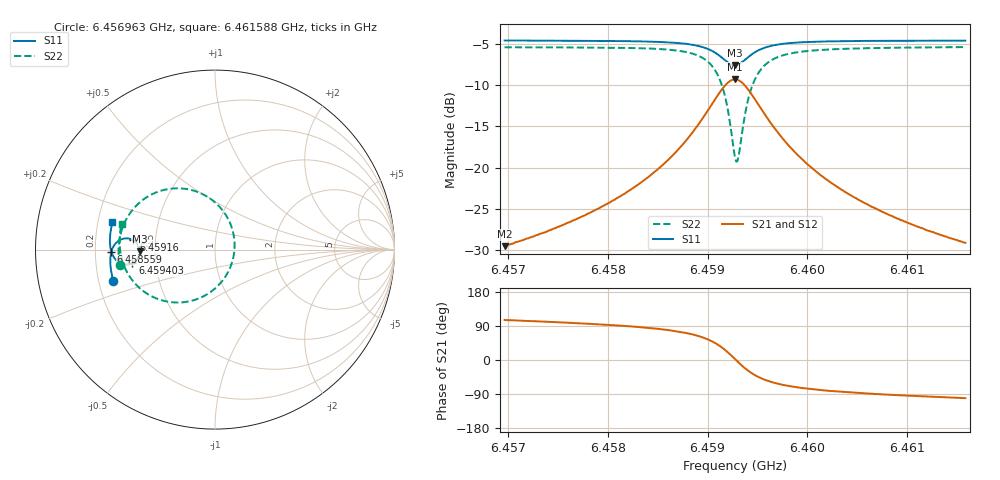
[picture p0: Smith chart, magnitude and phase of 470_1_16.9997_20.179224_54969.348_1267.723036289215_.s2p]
#  HZ  S  RI  R  50.00
! Rohde & Schwarz Vector Network Analyzer
! Rohde-Schwarz,ZNB20-2Port,1311601062101988,3.16
! Created: UTC 3/20/2024, 11:13:07 PM
! freq[Hz]  re:S11  im:S11  re:S21  im:S21  re:S12  im:S12  re:S22  im:S22
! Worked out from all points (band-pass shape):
!   401 points, 6.456963 GHz to 6.461588 GHz, reference 50 ohm
!   highest |S21| = -9.28 dB at 6.459276 GHz (marker M1); lowest = -29.5 dB at 6.456963 GHz (marker M2)
!   |S21| within 3 dB of the highest: 6.459045 GHz to 6.459507 GHz (462.5 kHz wide, 0.00716 % of centre)
!   lowest |S11| = -7.6 dB at 6.459276 GHz (marker M3), VSWR 2.44, Z = 20.5 - j0.512 ohm
!   |S11| at or under -10 dB: nowhere
!   |S22| runs from -19.2 to -5.4 dB; largest |S21 - S12| = 0.013
!   S11 on the Smith chart (normalised r, x): 6.456963 GHz: 0.26, -0.14; 6.458559 GHz: 0.27, -0.01; 6.45916 GHz: 0.37, +0.05; 6.459403 GHz: 0.37, -0.07; 6.461588 GHz: 0.26, +0.12
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6.4569634e9  -0.5664 -0.1732  -0.009 0.0321  -0.00726 0.0321  -0.5315 -0.086
6.457738e9  -0.5806 -0.1055  -0.00566 0.0501  -0.00313 0.0495  -0.5371 0.00417
6.4581427e9  -0.5836 -0.0653  -0.000351 0.0682  0.00297 0.0667  -0.5301 0.0674
6.4585127e9  -0.5798 -0.0215  0.0141 0.0982  0.0179 0.0955  -0.5041 0.1493
6.4585589e9  -0.5784 -0.0153  0.0174 0.1037  0.0214 0.1005  -0.4978 0.1624
6.458767e9  -0.5663 0.0166  0.0435 0.1352  0.0475 0.1304  -0.4489 0.2337
6.4589173e9  -0.545 0.0428  0.0858 0.1653  0.0891 0.1587  -0.3707 0.2977
6.4590676e9  -0.4991 0.0624  0.1773 0.1841  0.1783 0.1768  -0.2035 0.3414
6.4591601e9  -0.4548 0.0521  0.2667 0.1531  0.267 0.1474  -0.0377 0.2917
6.4592063e9  -0.4338 0.0335  0.3101 0.1105  0.3113 0.1053  0.0445 0.2157
6.4592757e9  -0.4191 -0.0103  0.3432 0.0143  0.3469 0.00731  0.1091 0.037
6.4592873e9  -0.4196 -0.0182  0.343 -0.00337  0.3467 -0.011  0.109 0.00353
6.4593104e9  -0.4229 -0.0337  0.3376 -0.0377  0.3413 -0.0468  0.098 -0.0618
6.4593566e9  -0.4384 -0.0595  0.3091 -0.0974  0.3113 -0.1092  0.0409 -0.1742
6.4594029e9  -0.4605 -0.0758  0.2673 -0.1381  0.2668 -0.1514  -0.0435 -0.2487
6.4594954e9  -0.5035 -0.0825  0.1832 -0.1692  0.1771 -0.1807  -0.2113 -0.2949
6.4596457e9  -0.5472 -0.062  0.0957 -0.1556  0.0874 -0.1617  -0.378 -0.2459
6.4598075e9  -0.5686 -0.0343  0.0511 -0.1278  0.0436 -0.1308  -0.458 -0.1743
6.4600503e9  -0.5811 0.0012  0.0222 -0.0967  0.0164 -0.0972  -0.506 -0.0921
6.4604203e9  -0.5856 0.0447  0.00566 -0.0687  0.00175 -0.0681  -0.528 -0.00903
6.4608249e9  -0.5836 0.0852  -0.00149 -0.0516  -0.00426 -0.0507  -0.5316 0.0548
6.461588e9  -0.5711 0.1526  -0.0065 -0.0343  -0.00817 -0.0334  -0.5201 0.1446
